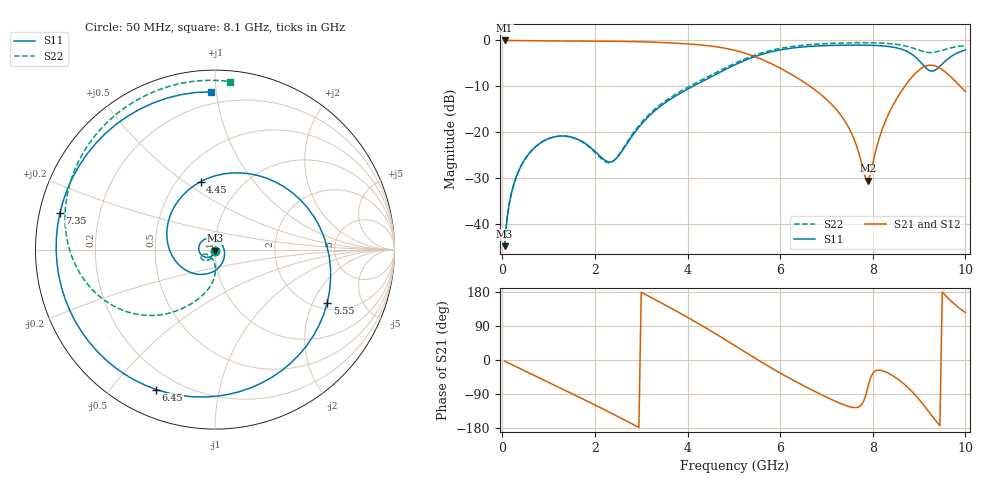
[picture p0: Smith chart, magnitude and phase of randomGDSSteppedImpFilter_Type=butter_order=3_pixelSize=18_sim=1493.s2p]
! freq	dB(S11)	phase(S11)	dB(S12)	phase(S12)
!  dB(S21)	phase(S21)	dB(S22)	phase(S22)
!S-par simulation data
#  GHz  S  DB  R 50
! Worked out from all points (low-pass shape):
!   200 points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, 50 MHz to 10 GHz, reference 50 ohm
!   highest |S21| = -0.01 dB at 50 MHz (marker M1); lowest = -30.6 dB at 7.9 GHz (marker M2)
!   |S21| within 3 dB of the highest: start of sweep to 5.308 GHz
!   lowest |S11| = -44.8 dB at 50 MHz (marker M3), VSWR 1.01, Z = 50 - j0.572 ohm
!   |S11| at or under -10 dB: start of sweep to 4.118 GHz
!   |S22| runs from -44.8 to -0.5 dB; largest |S21 - S12| = 0
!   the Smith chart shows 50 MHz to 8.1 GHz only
!   S11 on the Smith chart (normalised r, x): 50 MHz: 1.00, -0.01; 4.45 GHz: 0.65, +0.58; 5.55 GHz: 2.28, -2.60; 6.45 GHz: 0.12, -0.66; 7.35 GHz: 0.06, +0.12; 8.1 GHz: 0.12, +0.97
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0.05  -44.85 -91.9  -0.01 -3.0  -0.01 -3.0  -44.81 -90.1
0.2  -33.18 -103.9  -0.02 -11.9  -0.02 -11.9  -33.15 -98.6
0.55  -25.02 -130.5  -0.06 -32.5  -0.06 -32.5  -24.99 -115.6
1.15  -20.97 -176.3  -0.11 -67.9  -0.11 -67.9  -20.97 -141.1
1.75  -22.17 128.7  -0.15 -103.5  -0.15 -103.5  -22.29 -157.8
2.35  -26.47 23.2  -0.18 -140.1  -0.18 -140.1  -26.58 -122.3
3.4  -14.45 -138.8  -0.44 152.9  -0.44 152.9  -14.09 -96.3
4.45  -8.25 101.9  -1.16 80.7  -1.16 80.7  -7.86 -122.3
5.05  -5.19 30.4  -2.24 35.8  -2.24 35.8  -4.85 -141.3
5.55  -3.20 -25.4  -3.91 -2.1  -3.91 -2.1  -2.88 -161.8
6  -2.07 -71.0  -6.04 -34.4  -6.04 -34.4  -1.74 178.0
6.45  -1.46 -112.8  -8.68 -64.3  -8.68 -64.3  -1.09 157.9
6.7  -1.26 -135.1  -10.39 -80.0  -10.39 -80.0  -0.86 146.9
7.35  -1.03 166.8  -16.84 -117.1  -16.84 -117.1  -0.54 118.6
7.9  -1.04 113.1  -30.58 -68.8  -30.58 -68.8  -0.50 94.0
8.1  -1.12 91.4  -22.69 -27.0  -22.69 -27.0  -0.54 84.8
8.35  -1.33 61.5  -15.86 -35.6  -15.86 -35.6  -0.68 72.9
8.75  -2.44 1.2  -9.18 -71.6  -9.18 -71.6  -1.31 53.6
9.05  -4.94 -68.9  -6.07 -111.5  -6.07 -111.5  -2.28 42.4
9.4  -6.10 165.2  -5.77 -166.2  -5.77 -166.2  -2.43 36.8
9.65  -3.81 100.9  -7.61 160.3  -7.61 160.3  -1.72 28.2
10  -2.08 49.3  -11.15 125.0  -11.15 125.0  -1.12 11.0
